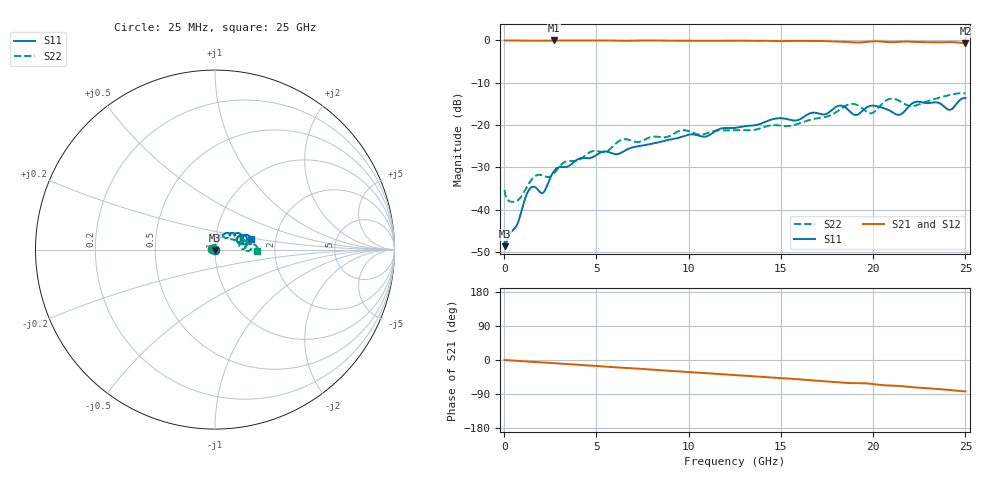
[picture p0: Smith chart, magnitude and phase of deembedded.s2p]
! RG_ts6_sw_pwr: 3D, de-embedded (matched 2x-thru)
# Hz S RI R 50
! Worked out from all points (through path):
!   1000 points, 25 MHz to 25 GHz, reference 50 ohm
!   highest |S21| = -0.04 dB at 2.7 GHz (marker M1); lowest = -0.7 dB at 25 GHz (marker M2)
!   group delay of S21, straight-line fit = 9.04 ps
!   lowest |S11| = -48.6 dB at 50 MHz (marker M3), VSWR 1.01, Z = 49.7 - j0.272 ohm
!   |S11| at or under -10 dB: start of sweep to end of sweep
!   |S22| runs from -38.2 to -12.5 dB; largest |S21 - S12| = 0.01
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2.5e7  -0.000993 -0.00405  0.9944 -0.00141  0.993 -0.00124  -0.0163 0.00509
5e7  -0.0025 -0.00273  0.9944 -0.00287  0.993 -0.00252  -0.0147 0.00482
6.5e8  -0.00289 0.00561  0.9929 -0.0354  0.9944 -0.0355  -0.00677 0.0106
1.35e9  -0.00342 0.0168  0.9904 -0.0763  0.9889 -0.0757  -0.00596 0.0197
2.125e9  -0.000573 0.0159  0.9841 -0.1116  0.9851 -0.1129  0.00469 0.0247
2.7e9  -0.00345 0.0283  0.9852 -0.1458  0.9837 -0.1451  0.00182 0.0267
3.275e9  0.00324 0.0316  0.9766 -0.1778  0.9782 -0.1776  0.00605 0.0359
4.2e9  0.00724 0.04  0.968 -0.2291  0.967 -0.2281  0.00858 0.0395
6.4e9  0.00971 0.0467  0.9248 -0.3409  0.9257 -0.3418  0.0231 0.0632
8.35e9  0.0153 0.0604  0.8884 -0.4426  0.8869 -0.4429  0.0336 0.0643
1.2525e10  0.0425 0.0821  0.761 -0.6342  0.7591 -0.6349  0.0562 0.066
1.6675e10  0.1056 0.0905  0.5861 -0.7906  0.5845 -0.792  0.1021 0.0558
1.74e10  0.1073 0.0798  0.5427 -0.8137  0.5444 -0.8124  0.1124 0.0528
1.8225e10  0.1514 0.0764  0.4956 -0.8315  0.4935 -0.832  0.1406 0.0618
1.88e10  0.1339 0.0415  0.4604 -0.8297  0.4617 -0.828  0.1729 0.0376
1.9925e10  0.1573 0.0617  0.441 -0.8663  0.4391 -0.8644  0.1358 0.023
2.085e10  0.146 0.0316  0.3691 -0.8767  0.369 -0.88  0.1991 0.0327
2.145e10  0.1227 0.0495  0.3541 -0.8944  0.3522 -0.8909  0.1908 -0.00691
2.2125e10  0.1614 0.0798  0.2994 -0.9139  0.3023 -0.9176  0.1665 0.0096
2.345e10  0.18 0.0425  0.2252 -0.9202  0.2313 -0.9236  0.2035 0.0328
2.4175e10  0.1428 0.0489  0.1797 -0.9372  0.1728 -0.9322  0.2253 0.0249
2.5e10  0.1993 0.0585  0.1198 -0.9158  0.1234 -0.9255  0.2352 -0.00893
